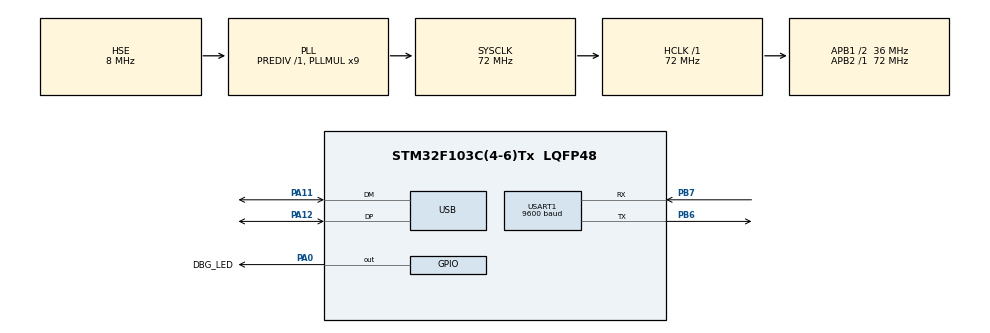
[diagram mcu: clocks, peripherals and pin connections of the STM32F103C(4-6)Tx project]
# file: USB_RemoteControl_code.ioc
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Mcu.Family=STM32F1
Mcu.Name=STM32F103C(4-6)Tx
Mcu.Package=LQFP48
NVIC.PriorityGroup=NVIC_PRIORITYGROUP_4
NVIC.USB_HP_CAN1_TX_IRQn=true\:0\:0\:false\:false\:true\:true\:true
NVIC.USB_LP_CAN1_RX0_IRQn=true\:0\:0\:false\:false\:true\:false\:true
PA0-WKUP.GPIO_Label=DBG_LED
PA0-WKUP.Signal=GPIO_Output
PA11.Mode=Device
PA11.Signal=USB_DM
PA12.Mode=Device
PA12.Signal=USB_DP
PA13.Mode=Serial_Wire
PA13.Signal=SYS_JTMS-SWDIO
PA14.Mode=Serial_Wire
PA14.Signal=SYS_JTCK-SWCLK
PB6.Mode=Asynchronous
PB6.Signal=USART1_TX
PB7.Mode=Asynchronous
PB7.Signal=USART1_RX
PD0-OSC_IN.Mode=HSE-External-Oscillator
PD0-OSC_IN.Signal=RCC_OSC_IN
PD1-OSC_OUT.Mode=HSE-External-Oscillator
PD1-OSC_OUT.Signal=RCC_OSC_OUT
ProjectManager.HeapSize=0x200
ProjectManager.StackSize=0x400
ProjectManager.TargetToolchain=Makefile
RCC.AHBFreq_Value=72000000
RCC.APB1CLKDivider=RCC_HCLK_DIV2
RCC.APB1Freq_Value=36000000
RCC.APB1TimFreq_Value=72000000
RCC.APB2Freq_Value=72000000
RCC.APB2TimFreq_Value=72000000
RCC.HCLKFreq_Value=72000000
RCC.PLLMUL=RCC_PLL_MUL9
RCC.SYSCLKFreq_VALUE=72000000
RCC.SYSCLKSource=RCC_SYSCLKSOURCE_PLLCLK
RCC.USBFreq_Value=48000000
RCC.USBPrescaler=RCC_USBCLKSOURCE_PLL_DIV1_5
USART1.BaudRate=9600
USART1.VirtualMode=VM_ASYNC
USB.low_power_enable=DISABLE
USB.lpm_enable=DISABLE
USB_DEVICE.CLASS_NAME_FS=HID
USB_DEVICE.MANUFACTURER_STRING=Maciej Krysztowiak
USB_DEVICE.PRODUCT_STRING_HID_FS=CursorMover
USB_DEVICE.VirtualMode=Hid
USB_DEVICE.VirtualModeFS=Hid_FS
VP_USB_DEVICE_VS_USB_DEVICE_HID_FS.Mode=HID_FS
board=custom

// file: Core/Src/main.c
/* USER CODE BEGIN Header */
/**
  ******************************************************************************
  * @file           : main.c
  * @brief          : Main program body
  ******************************************************************************
  * @attention
  *
  * <h2><center>&copy; Copyright (c) 2022 STMicroelectronics.
  * All rights reserved.</center></h2>
  *
  * This software component is licensed by ST under Ultimate Liberty license
  * SLA0044, the "License"; You may not use this file except in compliance with
  * the License. You may obtain a copy of the License at:
  *                             www.st.com/SLA0044
  *
  ******************************************************************************
  */
/* USER CODE END Header */
#include "main.h"
#include "usart.h"
#include "usb_device.h"
#include "gpio.h"

/* USER CODE BEGIN Includes */
#include <string.h>
#include "keyboard.h"
/* USER CODE END Includes */

/* USER CODE BEGIN PD */

#define UART_BUFFER_SIZE 128
/* USER CODE END PD */

void SystemClock_Config(void);

int main(void)
{

  /* MCU Configuration--------------------------------------------------------*/

  /* Reset of all peripherals, Initializes the Flash interface and the Systick. */
  HAL_Init();

  /* Configure the system clock */
  SystemClock_Config();

  /* Initialize all configured peripherals */
  MX_GPIO_Init();
  MX_USB_DEVICE_Init();
  MX_USART1_UART_Init();
  /* USER CODE BEGIN 2 */
  KEYBOARD_Init();
  char UART_Buffer[UART_BUFFER_SIZE] = "";

  /* USER CODE END 2 */

  /* Infinite loop */
  /* USER CODE BEGIN WHILE */
  while (1)
  {
    for (size_t i = 0; i < UART_BUFFER_SIZE; i++)
    {
      UART_Buffer[i] = 0;
    }
    HAL_UART_Receive(&huart1, UART_Buffer, UART_BUFFER_SIZE, 100);
    if(UART_Buffer[0] == 0)
      continue;
    #define cmdEq(X) (strcmp(UART_Buffer, (X)) == 0)

    if(UART_Buffer[0] == '%'){
      KEYBOARD_Print(&(UART_Buffer[1]), KEYBOARD_MOD_NO_MOD);
    }
    else if(cmdEq("Next")){
       KEYBOARD_MEDIA_Send(KEYBOARD_MEDIA_SCAN_NEXT);
    }
    else if(cmdEq("Prev")){
      KEYBOARD_MEDIA_Send(KEYBOARD_MEDIA_SCAN_PREV);
    }
    else if(cmdEq("Pause")){
      KEYBOARD_MEDIA_Send(KEYBOARD_MEDIA_PAUSE);
    }
    else if(cmdEq("VolUp")){
      KEYBOARD_MEDIA_Send(KEYBOARD_MEDIA_VOL_INC);
    }
    else if(cmdEq("VolDown")){
      KEYBOARD_MEDIA_Send(KEYBOARD_MEDIA_VOL_DEC);
    }
    else if(cmdEq("Mute")){
      KEYBOARD_MEDIA_Send(KEYBOARD_MEDIA_MUTE);
    }
    else if(cmdEq("Esc")){
      KEYBOARD_SendKey(KEYBOARD_KEY_ESCAPE, KEYBOARD_MOD_NO_MOD);
    }
    else if(cmdEq("Lock")){
      KEYBOARD_SendKey(KEYBOARD_KEY_L, KEYBOARD_MOD_LEFT_WIN);
    }
    else if(cmdEq("Left")){
      KEYBOARD_SendKey(KEYBOARD_KEY_LEFT_ARROW, KEYBOARD_MOD_NO_MOD);
    }
    else if(cmdEq("Up")){
      KEYBOARD_SendKey(KEYBOARD_KEY_UP_ARROW, KEYBOARD_MOD_NO_MOD);
    }
    else if(cmdEq("Right")){
      KEYBOARD_SendKey(KEYBOARD_KEY_RIGHT_ARROW, KEYBOARD_MOD_NO_MOD);
    }
    else if(cmdEq("Left")){
      KEYBOARD_SendKey(KEYBOARD_KEY_LEFT_ARROW, KEYBOARD_MOD_NO_MOD);
    }
    else if(cmdEq("Down")){
      KEYBOARD_SendKey(KEYBOARD_KEY_DOWN_ARROW, KEYBOARD_MOD_NO_MOD);
    }
    else if(cmdEq("Reload")){
      KEYBOARD_SendKey(KEYBOARD_KEY_F5, KEYBOARD_MOD_NO_MOD);
    }
    else if(cmdEq("Enter")){
      KEYBOARD_SendKey(KEYBOARD_KEY_ENTER, KEYBOARD_MOD_NO_MOD);
    }
    else if(cmdEq("Tab")){
      KEYBOARD_SendKey(KEYBOARD_KEY_TAB, KEYBOARD_MOD_NO_MOD);
    }
    else if(cmdEq("Search")){
      KEYBOARD_SendKey(KEYBOARD_KEY_SLASH, KEYBOARD_MOD_NO_MOD);
    }
    else if(cmdEq("Backspace")){
      KEYBOARD_SendKey(KEYBOARD_KEY_DELETE, KEYBOARD_MOD_NO_MOD);
    }
    else if(cmdEq("ShutDown")){
      KEYBOARD_SendKey(KEYBOARD_KEY_D, KEYBOARD_MOD_LEFT_WIN);
      HAL_Delay(500);
      KEYBOARD_SendKey(KEYBOARD_KEY_F4, KEYBOARD_MOD_LEFT_ALT);
      HAL_Delay(500);
      KEYBOARD_Enter();
    }
    else if(cmdEq("YTMusic")){
      KEYBOARD_SendKey(KEYBOARD_KEY_X, KEYBOARD_MOD_LEFT_WIN);
      HAL_Delay(500);
      KEYBOARD_SendKey(KEYBOARD_KEY_I, KEYBOARD_MOD_NO_MOD);
      HAL_Delay(500);
      KEYBOARD_Print("start chrome https://music.youtube.com/", KEYBOARD_MOD_NO_MOD);
      KEYBOARD_Enter();
    }
    else if(cmdEq("Search")){
      KEYBOARD_SendKey(KEYBOARD_KEY_SLASH, KEYBOARD_MOD_NO_MOD);
    }
    else if(cmdEq("PrevTab")){
      KEYBOARD_SendKey(KEYBOARD_KEY_TAB, (KEYBOARD_MOD_LEFT_CTRL | KEYBOARD_MOD_RIGHT_SHIFT));
    }
    else if(cmdEq("NextTab")){
      KEYBOARD_SendKey(KEYBOARD_KEY_TAB, KEYBOARD_MOD_LEFT_CTRL);
    }
    else if(cmdEq("Connect")){
      KEYBOARD_SendKey(KEYBOARD_KEY_K, KEYBOARD_MOD_LEFT_WIN);
    }
    else if(cmdEq("F11")){
      KEYBOARD_SendKey(KEYBOARD_KEY_F11, KEYBOARD_MOD_NO_MOD);
    }
    else if(cmdEq("AltF4")){
      KEYBOARD_SendKey(KEYBOARD_KEY_F4, KEYBOARD_MOD_LEFT_ALT);
    }
    // else{
    //   KEYBOARD_Print("NOOP\n", KEYBOARD_MOD_NO_MOD);
    //   KEYBOARD_Print(UART_Buffer, KEYBOARD_MOD_NO_MOD);
    // }

    /* USER CODE END WHILE */

    /* USER CODE BEGIN 3 */    // Send HID report
  }
  /* USER CODE END 3 */
}

void SystemClock_Config(void)
{
  RCC_OscInitTypeDef RCC_OscInitStruct = {0};
  RCC_ClkInitTypeDef RCC_ClkInitStruct = {0};
  RCC_PeriphCLKInitTypeDef PeriphClkInit = {0};

  /** Initializes the RCC Oscillators according to the specified parameters
  * in the RCC_OscInitTypeDef structure.
  */
  RCC_OscInitStruct.OscillatorType = RCC_OSCILLATORTYPE_HSE;
  RCC_OscInitStruct.HSEState = RCC_HSE_ON;
  RCC_OscInitStruct.HSEPredivValue = RCC_HSE_PREDIV_DIV1;
  RCC_OscInitStruct.HSIState = RCC_HSI_ON;
  RCC_OscInitStruct.PLL.PLLState = RCC_PLL_ON;
  RCC_OscInitStruct.PLL.PLLSource = RCC_PLLSOURCE_HSE;
  RCC_OscInitStruct.PLL.PLLMUL = RCC_PLL_MUL9;
  if (HAL_RCC_OscConfig(&RCC_OscInitStruct) != HAL_OK)
  {
    Error_Handler();
  }
  /** Initializes the CPU, AHB and APB buses clocks
  */
  RCC_ClkInitStruct.ClockType = RCC_CLOCKTYPE_HCLK|RCC_CLOCKTYPE_SYSCLK
                              |RCC_CLOCKTYPE_PCLK1|RCC_CLOCKTYPE_PCLK2;
  RCC_ClkInitStruct.SYSCLKSource = RCC_SYSCLKSOURCE_PLLCLK;
  RCC_ClkInitStruct.AHBCLKDivider = RCC_SYSCLK_DIV1;
  RCC_ClkInitStruct.APB1CLKDivider = RCC_HCLK_DIV2;
  RCC_ClkInitStruct.APB2CLKDivider = RCC_HCLK_DIV1;

  if (HAL_RCC_ClockConfig(&RCC_ClkInitStruct, FLASH_LATENCY_2) != HAL_OK)
  {
    Error_Handler();
  }
  PeriphClkInit.PeriphClockSelection = RCC_PERIPHCLK_USB;
  PeriphClkInit.UsbClockSelection = RCC_USBCLKSOURCE_PLL_DIV1_5;
  if (HAL_RCCEx_PeriphCLKConfig(&PeriphClkInit) != HAL_OK)
  {
    Error_Handler();
  }
}

void Error_Handler(void)
{
  __disable_irq();
  while (1)
  {
  }
}

/************************ (C) COPYRIGHT STMicroelectronics *****END OF FILE****/
